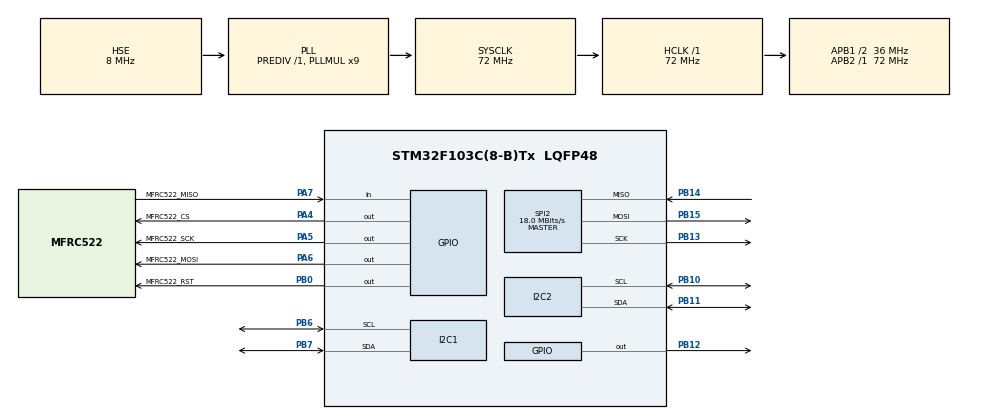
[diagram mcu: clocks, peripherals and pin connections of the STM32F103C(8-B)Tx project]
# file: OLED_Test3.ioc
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FATFS._MAX_SS=4096
FATFS._USE_LFN=1
I2C1.I2C_Mode=I2C_Fast
Mcu.Family=STM32F1
Mcu.Name=STM32F103C(8-B)Tx
Mcu.Package=LQFP48
NVIC.PriorityGroup=NVIC_PRIORITYGROUP_4
PA13.Mode=Serial_Wire
PA13.Signal=SYS_JTMS-SWDIO
PA14.Mode=Serial_Wire
PA14.Signal=SYS_JTCK-SWCLK
PA4.GPIO_Label=MFRC522_CS
PA4.Signal=GPIO_Output
PA5.GPIO_Label=MFRC522_SCK
PA5.Signal=GPIO_Output
PA6.GPIO_Label=MFRC522_MOSI
PA6.Signal=GPIO_Output
PA7.GPIO_Label=MFRC522_MISO
PA7.Signal=GPIO_Input
PB0.GPIO_Label=MFRC522_RST
PB0.Signal=GPIO_Output
PB10.Mode=I2C
PB10.Signal=I2C2_SCL
PB11.Mode=I2C
PB11.Signal=I2C2_SDA
PB12.Signal=GPIO_Output
PB13.Mode=Full_Duplex_Master
PB13.Signal=SPI2_SCK
PB14.Mode=Full_Duplex_Master
PB14.Signal=SPI2_MISO
PB15.Mode=Full_Duplex_Master
PB15.Signal=SPI2_MOSI
PB6.Mode=I2C
PB6.Signal=I2C1_SCL
PB7.Mode=I2C
PB7.Signal=I2C1_SDA
PD0-OSC_IN.Mode=HSE-External-Oscillator
PD0-OSC_IN.Signal=RCC_OSC_IN
PD1-OSC_OUT.Mode=HSE-External-Oscillator
PD1-OSC_OUT.Signal=RCC_OSC_OUT
ProjectManager.HeapSize=0x200
ProjectManager.StackSize=0x400
ProjectManager.TargetToolchain=STM32CubeIDE
RCC.AHBFreq_Value=72000000
RCC.APB1CLKDivider=RCC_HCLK_DIV2
RCC.APB1Freq_Value=36000000
RCC.APB1TimFreq_Value=72000000
RCC.APB2Freq_Value=72000000
RCC.APB2TimFreq_Value=72000000
RCC.HCLKFreq_Value=72000000
RCC.PLLMUL=RCC_PLL_MUL9
RCC.PLLSourceVirtual=RCC_PLLSOURCE_HSE
RCC.SYSCLKFreq_VALUE=72000000
RCC.SYSCLKSource=RCC_SYSCLKSOURCE_PLLCLK
RCC.USBFreq_Value=72000000
SPI2.CalculateBaudRate=18.0 MBits/s
SPI2.Direction=SPI_DIRECTION_2LINES
SPI2.Mode=SPI_MODE_MASTER
SPI2.VirtualType=VM_MASTER
VP_FATFS_VS_Generic.Mode=User_defined
board=custom

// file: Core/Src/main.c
/* USER CODE BEGIN Header */
/**
  ******************************************************************************
  * @file           : main.c
  * @brief          : Main program body
  ******************************************************************************
  * @attention
  *
  * Copyright (c) 2023 STMicroelectronics.
  * All rights reserved.
  *
  * This software is licensed under terms that can be found in the LICENSE file
  * in the root directory of this software component.
  * If no LICENSE file comes with this software, it is provided AS-IS.
  *
  ******************************************************************************
  */
/* USER CODE END Header */
#include "main.h"
#include "fatfs.h"
#include "i2c.h"
#include "spi.h"
#include "gpio.h"

/* USER CODE BEGIN Includes */
#include "mfrc522.h"
#include "fonts.h"
#include "ssd1306_oled.h"
#include "ds1307.h"
#include "csv_utils.h"

#include <stdio.h>
#include <string.h>
#include <stdlib.h>
#include <stdbool.h>
/* USER CODE END Includes */

/* USER CODE BEGIN PTD */
typedef enum {
    STATE_IDLE,
	STATE_WAIT_FOR_SECOND_READ
} State;
/* USER CODE END PTD */

/* USER CODE BEGIN PV */
FATFS fs; /* File system object structure (FATFS) - para montar la sd*/
FIL fil; /* File object structure (FIL) - Para crear archivos de texto*/
ds1307_dev_t my_rtc;
uint8_t UID[8], TagType;

/* USER CODE END PV */

void SystemClock_Config(void);
void DisplayTimeOnly(void);
void DrawIdleStatic(void);
void DisplayScan(const char* timestamp, const char* usuario);
void UpdateCSVDateTimeString(char* out);
void generateUniqueId(ds1307_dev_t* rtc, char* out);

/* USER CODE BEGIN 0 */

void DisplayTimeOnly(void) {
    ds1307_update(&my_rtc);
    char date_str[20], time_str[20], dt[40];
    sprintf(date_str, "%02d/%02d/%02d",
            my_rtc.date, my_rtc.month, my_rtc.year % 100);
    sprintf(time_str, "%02d:%02d:%02d",
            my_rtc.hours, my_rtc.minutes, my_rtc.seconds);
    snprintf(dt, sizeof(dt), "%s %s", date_str, time_str);

    SSD1306_GotoXY(5, 1);
    SSD1306_Puts("                    ", &Font_7x10, BLACK);
    SSD1306_GotoXY(5, 1);
    SSD1306_Puts((char*)dt, &Font_7x10, WHITE);  // cast para evitar warning
    SSD1306_UpdateScreen();
}

void DrawIdleStatic(void) {
    SSD1306_Clear();
    DisplayTimeOnly();
    SSD1306_GotoXY(0, 25);
    SSD1306_Puts("ESCANEAR", &Font_11x18, WHITE);
    SSD1306_UpdateScreen();
}

// --- Helper estático: pinta Usuario en medio y Fecha/Hora abajo ---
static void DrawUserAndDateBelow(const char* timestamp, const char* usuario) {
    int sfw = Font_7x10.FontWidth;
    int sfh = Font_7x10.FontHeight;
    int lfw = Font_11x18.FontWidth;
    int lfh = Font_11x18.FontHeight;

    // 1) Usuario centrado en Y ≈ 28
    char usr_line[32];
    snprintf(usr_line, sizeof(usr_line), "Usuario:%s", usuario);
    int wus = strlen(usr_line) * sfw;
    int xus = (SSD1306_WIDTH - wus) / 2;
    SSD1306_GotoXY(xus, (SSD1306_HEIGHT - sfh) / 2);
    SSD1306_Puts(usr_line, &Font_7x10, WHITE);

    // 2) Fecha+Hora formateada y centrada en Y = 64 - lfh - 2
    char dt_disp[16];
    snprintf(dt_disp, sizeof(dt_disp), "%c%c/%c%c/%c%c %c%c:%c%c",
             timestamp[8], timestamp[9],
             timestamp[5], timestamp[6],
             timestamp[2], timestamp[3],
             timestamp[11], timestamp[12],
             timestamp[14], timestamp[15]);
    int wdt = strlen(dt_disp) * lfw;
    int xdt = (SSD1306_WIDTH - wdt) / 2;
    int ydt = SSD1306_HEIGHT - lfh - 2;
    SSD1306_GotoXY(xdt, ydt);
    SSD1306_Puts(dt_disp, &Font_11x18, WHITE);
}

// --- Función principal con restauración ---
void DisplayScan(const char* timestamp, const char* usuario) {
    // 1) Limpiar toda la pantalla
    SSD1306_Clear();

    // 2) Pintar la parte fija (usuario + fecha abajo)
    DrawUserAndDateBelow(timestamp, usuario);
    SSD1306_UpdateScreen();

    // 3) Parámetros de fuente pequeña
    int sfw = Font_7x10.FontWidth;
    int sfh = Font_7x10.FontHeight;

    // 4) Animación arriba: "Lectura OK" sobre negro
    const char* m1 = "Lectura OK";
    int x1 = (SSD1306_WIDTH - strlen(m1) * sfw) / 2;
    SSD1306_DrawFilledRectangle(0, 0, SSD1306_WIDTH, sfh, BLACK);
    SSD1306_GotoXY(x1, 0);
    SSD1306_Puts((char*)m1, &Font_7x10, WHITE);
    SSD1306_UpdateScreen();
    HAL_Delay(1200);

    // 5) Animación arriba: "Guardando..." sobre blanco
    const char* m2 = "Guardando...";
    int x2 = (SSD1306_WIDTH - strlen(m2) * sfw) / 2;
    SSD1306_DrawFilledRectangle(0, 0, SSD1306_WIDTH, sfh, WHITE);
    SSD1306_GotoXY(x2, 0);
    SSD1306_Puts((char*)m2, &Font_7x10, BLACK);
    SSD1306_UpdateScreen();
    HAL_Delay(1200);

    // 6) Restaurar la franja de arriba (fondo negro) y volver a pintar la parte fija
    SSD1306_DrawFilledRectangle(0, 0, SSD1306_WIDTH, sfh, BLACK);
    DrawUserAndDateBelow(timestamp, usuario);
    SSD1306_UpdateScreen();
}

void UpdateCSVDateTimeString(char* out) {
    ds1307_update(&my_rtc);
    sprintf(out, "20%02d-%02d-%02d %02d:%02d:%02d",
            my_rtc.year % 100,
            my_rtc.month,
            my_rtc.date,
            my_rtc.hours,
            my_rtc.minutes,
            my_rtc.seconds);
}

void generateUniqueId(ds1307_dev_t* rtc, char* out) {
    ds1307_update(rtc);
    uint16_t r = rand() % 1000;
    sprintf(out, "20%02d%02d%02d%02d%02d%02d%03d",
        rtc->year % 100,
        rtc->month,
        rtc->date,
        rtc->hours,
        rtc->minutes,
        rtc->seconds,
        r
    );
}

/* USER CODE END 0 */

int main(void)
{

  /* MCU Configuration--------------------------------------------------------*/

  /* Reset of all peripherals, Initializes the Flash interface and the Systick. */
  HAL_Init();

  /* Configure the system clock */
  SystemClock_Config();

  /* Initialize all configured peripherals */
  MX_GPIO_Init();
  MX_I2C1_Init();
  MX_I2C2_Init();
  MX_SPI2_Init();
  MX_FATFS_Init();
  /* USER CODE BEGIN 2 */
  MFRC522_Init();
  SSD1306_Init();
  ds1307_init();

  //ds1307_config(30, 44, 12, Mar, 06, Mayo, 2025, +3, 00);

  // Montar el sistema de archivos
  f_mount(&fs, "", 0);

  bool idle_drawn = false;
  char usuario[9];
  TimeRecord record;

  /* USER CODE END 2 */

  /* Infinite loop */
  /* USER CODE BEGIN WHILE */
  while (1)
      {
          if (!idle_drawn) {
              DrawIdleStatic();
              idle_drawn = true;
          } else {
              DisplayTimeOnly();
          }

          if (MFRC522_IsCard(&TagType) && MFRC522_ReadCardSerial(UID)) {
              HAL_Delay(200);

              generateUniqueId(&my_rtc, record.id);
              strcpy(record.id_embebed, "AA4K0GH8"); // ID EMBEBED DE FABRICA
              sprintf(record.id_tag, "%02X%02X%02X%02X",
                      UID[0], UID[1], UID[2], UID[3]);
              UpdateCSVDateTimeString(record.timestamp);

              sprintf(usuario, "%02X%02X%02X%02X",
                      UID[0], UID[1], UID[2], UID[3]);
              DisplayScan(record.timestamp, usuario);

              if (f_open(&fil, "data.csv", FA_OPEN_ALWAYS | FA_WRITE) == FR_OK) {
                  writeCSVRecord(&fil, &record);
                  f_close(&fil);
              }

              idle_drawn = false;
              SSD1306_Clear();
              HAL_Delay(200);
          }
      }

  /* USER CODE END 3 */
}

void SystemClock_Config(void)
{
  RCC_OscInitTypeDef RCC_OscInitStruct = {0};
  RCC_ClkInitTypeDef RCC_ClkInitStruct = {0};

  /** Initializes the RCC Oscillators according to the specified parameters
  * in the RCC_OscInitTypeDef structure.
  */
  RCC_OscInitStruct.OscillatorType = RCC_OSCILLATORTYPE_HSE;
  RCC_OscInitStruct.HSEState = RCC_HSE_ON;
  RCC_OscInitStruct.HSEPredivValue = RCC_HSE_PREDIV_DIV1;
  RCC_OscInitStruct.HSIState = RCC_HSI_ON;
  RCC_OscInitStruct.PLL.PLLState = RCC_PLL_ON;
  RCC_OscInitStruct.PLL.PLLSource = RCC_PLLSOURCE_HSE;
  RCC_OscInitStruct.PLL.PLLMUL = RCC_PLL_MUL9;
  if (HAL_RCC_OscConfig(&RCC_OscInitStruct) != HAL_OK)
  {
    Error_Handler();
  }

  /** Initializes the CPU, AHB and APB buses clocks
  */
  RCC_ClkInitStruct.ClockType = RCC_CLOCKTYPE_HCLK|RCC_CLOCKTYPE_SYSCLK
                              |RCC_CLOCKTYPE_PCLK1|RCC_CLOCKTYPE_PCLK2;
  RCC_ClkInitStruct.SYSCLKSource = RCC_SYSCLKSOURCE_PLLCLK;
  RCC_ClkInitStruct.AHBCLKDivider = RCC_SYSCLK_DIV1;
  RCC_ClkInitStruct.APB1CLKDivider = RCC_HCLK_DIV2;
  RCC_ClkInitStruct.APB2CLKDivider = RCC_HCLK_DIV1;

  if (HAL_RCC_ClockConfig(&RCC_ClkInitStruct, FLASH_LATENCY_2) != HAL_OK)
  {
    Error_Handler();
  }
}

void Error_Handler(void)
{
  __disable_irq();
  while (1)
  {
  }
}
